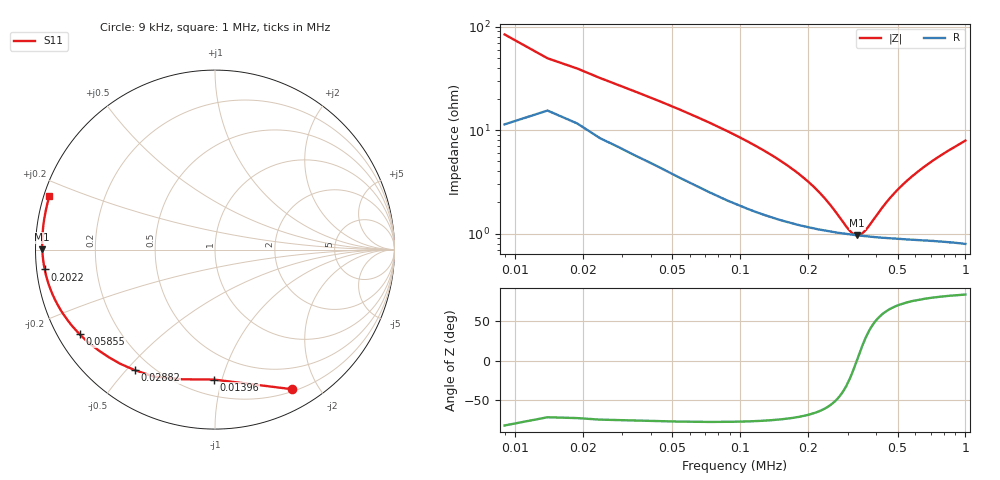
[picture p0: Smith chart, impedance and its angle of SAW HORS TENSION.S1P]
!Agilent Technologies,E5071C,MY46109397,A.09.54
!Date: Mon Jan 01 01:42:26 2001
!Data & Calibration Information:
!Freq	S11:SOLT1(ON)
# Hz S RI R 50
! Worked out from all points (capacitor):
!   201 points, 9 kHz to 1 MHz, reference 50 ohm
!   read as one part to ground: C = 222 nF near 13.96 kHz
!   lowest |Z| = 961 mohm at 331.1 kHz (marker M1)
!   series resonance near 329.3 kHz, so ESL is about 1 uH
!   S11 on the Smith chart (normalised r, x): 9 kHz: 0.23, -1.67; 13.96 kHz: 0.31, -0.94; 28.82 kHz: 0.14, -0.53; 58.55 kHz: 0.06, -0.29; 202.2 kHz: 0.02, -0.06; 1 MHz: 0.02, +0.16
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9000  0.4281 -0.7776
13955  -0.00674 -0.7239
18910  -0.1808 -0.7227
23865  -0.3392 -0.7078
28820  -0.4465 -0.6717
33775  -0.5293 -0.6356
38730  -0.5941 -0.5981
43685  -0.6459 -0.5635
48640  -0.689 -0.5306
53595  -0.7244 -0.5004
58550  -0.7538 -0.4716
63505  -0.7787 -0.4451
73415  -0.8178 -0.398
88280  -0.8586 -0.3387
98190  -0.8777 -0.3056
108100  -0.8926 -0.2766
118010  -0.9045 -0.251
132875  -0.9181 -0.2177
162605  -0.9358 -0.1642
202245  -0.9489 -0.1106
256750  -0.9577 -0.0556
331075  -0.9623 0.00122
380625  -0.9628 0.0325
504500  -0.9602 0.0985
628375  -0.9539 0.1547
752250  -0.9452 0.2055
876125  -0.9347 0.2531
1000000  -0.9224 0.2984
